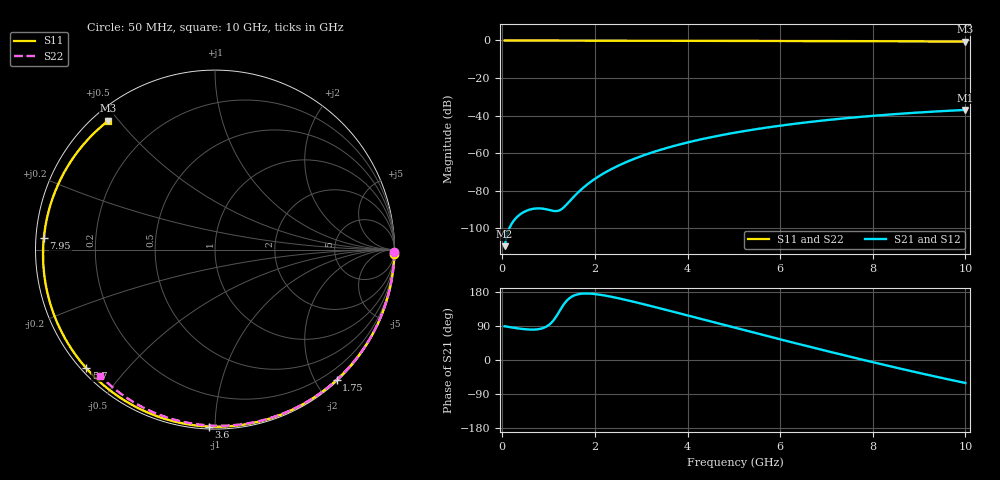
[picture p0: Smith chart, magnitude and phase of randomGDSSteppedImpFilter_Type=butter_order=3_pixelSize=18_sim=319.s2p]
! freq	dB(S11)	phase(S11)	dB(S12)	phase(S12)
!  dB(S21)	phase(S21)	dB(S22)	phase(S22)
!S-par simulation data
#  GHz  S  DB  R 50
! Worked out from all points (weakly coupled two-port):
!   200 points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, 50 MHz to 10 GHz, reference 50 ohm
!   highest |S21| = -36.96 dB at 10 GHz (marker M1); lowest = -109.5 dB at 50 MHz (marker M2)
!   lowest |S11| = -0.6 dB at 10 GHz (marker M3), VSWR 28.48, Z = 2.14 + j23.5 ohm
!   |S11| at or under -10 dB: nowhere
!   |S22| runs from -0.4 to 0.0 dB; largest |S21 - S12| = 0
!   S11 on the Smith chart (normalised r, x): 50 MHz: 0, -83; 1.75 GHz: 0.02, -2.30; 3.6 GHz: 0.01, -0.97; 5.7 GHz: 0.01, -0.39; 7.95 GHz: 0.02, +0.03; 10 GHz: 0.04, +0.47
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0.05  -0.00 -1.4  -109.48 89.2  -109.48 89.2  -0.00 -0.8
0.4  -0.02 -11.0  -92.29 82.4  -92.29 82.4  -0.01 -6.1
0.8  -0.03 -21.8  -89.37 81.8  -89.37 81.8  -0.02 -12.2
1.2  -0.04 -32.5  -90.70 121.7  -90.70 121.7  -0.02 -18.2
1.65  -0.06 -44.4  -80.56 173.9  -80.56 173.9  -0.03 -24.9
1.7  -0.06 -45.7  -79.42 174.8  -79.42 174.8  -0.03 -25.7
1.75  -0.06 -47.0  -78.34 175.3  -78.34 175.3  -0.03 -26.4
2.05  -0.07 -54.6  -72.83 173.2  -72.83 173.2  -0.04 -30.9
2.45  -0.08 -64.6  -67.29 164.4  -67.29 164.4  -0.05 -36.7
2.9  -0.10 -75.6  -62.51 151.8  -62.51 151.8  -0.06 -43.2
3.4  -0.11 -87.4  -58.32 136.5  -58.32 136.5  -0.07 -50.3
3.6  -0.12 -92.0  -56.87 130.3  -56.87 130.3  -0.07 -53.1
4.3  -0.15 -107.7  -52.58 108.0  -52.58 108.0  -0.09 -62.8
5.05  -0.18 -123.8  -48.96 84.2  -48.96 84.2  -0.11 -72.8
5.7  -0.22 -137.3  -46.40 63.8  -46.40 63.8  -0.14 -81.2
6.2  -0.25 -147.6  -44.71 48.3  -44.71 48.3  -0.16 -87.5
6.7  -0.29 -157.8  -43.22 33.0  -43.22 33.0  -0.18 -93.7
7.35  -0.34 -171.2  -41.54 13.4  -41.54 13.4  -0.22 -101.6
7.95  -0.39 176.2  -40.21 -4.3  -40.21 -4.3  -0.26 -108.8
8.35  -0.43 167.7  -39.44 -15.8  -39.44 -15.8  -0.29 -113.5
9.15  -0.51 149.9  -38.11 -38.2  -38.11 -38.2  -0.36 -122.7
10  -0.61 129.7  -36.96 -60.6  -36.96 -60.6  -0.45 -132.4
